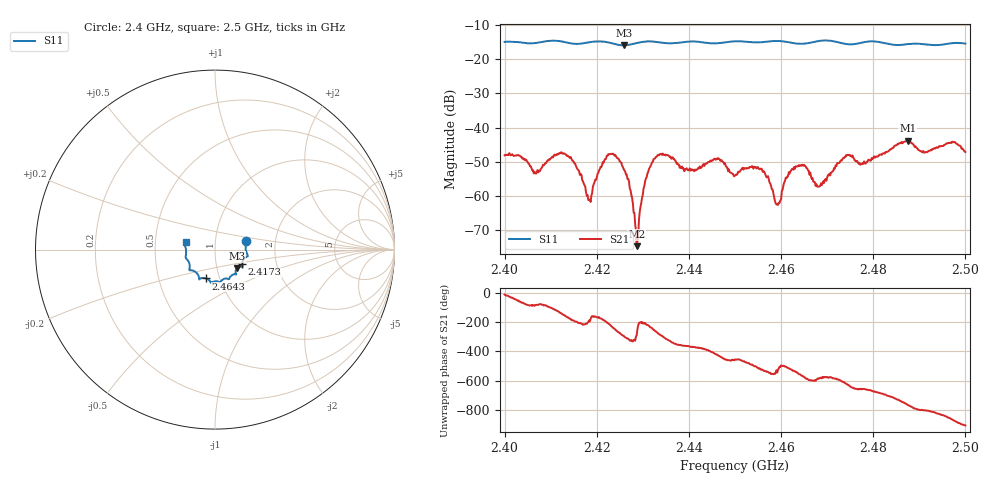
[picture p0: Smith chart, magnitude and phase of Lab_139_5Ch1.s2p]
# Hz S RI R 50
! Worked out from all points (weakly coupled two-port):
!   601 points, 2.4 GHz to 2.5 GHz, reference 50 ohm
!   highest |S21| = -43.84 dB at 2.4875 GHz (marker M1); lowest = -74.7 dB at 2.4287 GHz (marker M2)
!   lowest |S11| = -15.9 dB at 2.4258 GHz (marker M3), VSWR 1.38, Z = 62.3 - j13.2 ohm
!   |S11| at or under -10 dB: start of sweep to end of sweep
!   S12 and S22 are empty: the file has one direction only
!   S11 on the Smith chart (normalised r, x): 2.4 GHz: 1.41, +0.14; 2.4173 GHz: 1.34, -0.22; 2.4643 GHz: 0.86, -0.28; 2.5 GHz: 0.72, +0.06
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2.4e9  0.1728 0.0488  0.00386 -0.000825  0 0  0 0
2.406833e9  0.173 -0.00841  0.000237 -0.00211  0 0  0 0
2.412667e9  0.1762 -0.0402  -0.00358 -0.0021  0 0  0 0
2.416667e9  0.1525 -0.0742  -0.00175 0.00108  0 0  0 0
2.417333e9  0.1518 -0.0816  -0.00115 0.000865  0 0  0 0
2.4185e9  0.1524 -0.0918  -0.000857 0.00024  0 0  0 0
2.422667e9  0.1479 -0.0941  -0.00337 0.00225  0 0  0 0
2.425833e9  0.1219 -0.1036  0.00101 0.00226  0 0  0 0
2.428667e9  0.1149 -0.129  6.26e-05 0.000174  0 0  0 0
2.430833e9  0.1186 -0.1384  -0.00147 0.00119  0 0  0 0
2.433333e9  0.113 -0.1374  0.000528 0.00398  0 0  0 0
2.4395e9  0.0796 -0.1617  0.00253 -0.00018  0 0  0 0
2.4465e9  0.044 -0.1665  0.00113 -0.00332  0 0  0 0
2.45e9  0.029 -0.1809  -0.000177 -0.00199  0 0  0 0
2.455333e9  -0.00096 -0.1769  -0.00225 -0.000994  0 0  0 0
2.459333e9  -0.023 -0.1834  -0.000718 -0.000187  0 0  0 0
2.4615e9  -0.028 -0.1758  -0.00173 -0.000885  0 0  0 0
2.464333e9  -0.0499 -0.1607  -0.00261 0.00113  0 0  0 0
2.466667e9  -0.0759 -0.1592  -0.000913 0.00152  0 0  0 0
2.483333e9  -0.1407 -0.09  0.00436 0.00125  0 0  0 0
2.4875e9  -0.1579 -0.0528  0.00444 -0.00465  0 0  0 0
2.5e9  -0.164 0.0428  -0.00437 0.000486  0 0  0 0
